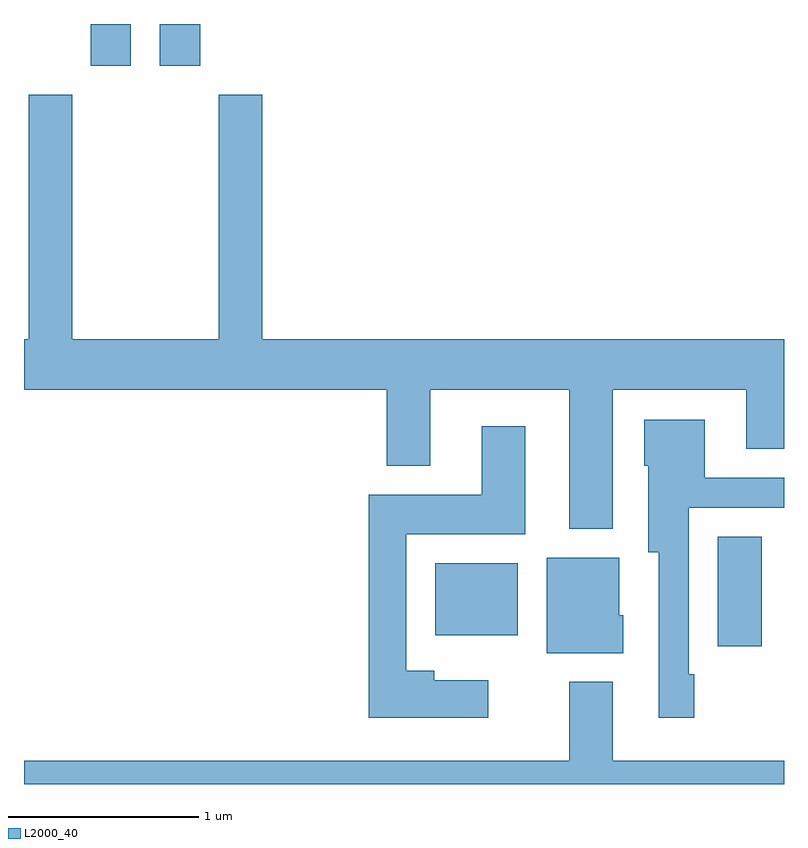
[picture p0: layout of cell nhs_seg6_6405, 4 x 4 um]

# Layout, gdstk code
import gdstk
lib = gdstk.Library(unit=1e-6, precision=1e-09)
def R(c, l, rs):  # rectangles x0, y0, x1, y1
    for r in rs: c.add(gdstk.rectangle(r[:2], r[2:], *l))
def P(c, l, *ps):  # polygons
    for p in ps: c.add(gdstk.Polygon(p, *l))
L2000_40 = (2000, 40)

nhs_seg6_6405 = lib.new_cell('nhs_seg6_6405')
R(nhs_seg6_6405, L2000_40, [(383.261,1570.886,383.494,1571.464), (381.776,1570.946,382.209,1571.324), (379.961,1573.941,380.174,1574.162), (380.326,1573.941,380.539,1574.162)])
P(nhs_seg6_6405, L2000_40, [(382.709,1572.236),(383.411,1572.236),(383.411,1571.926),(383.611,1571.926),(383.611,1572.504),(380.864,1572.504),(380.864,1573.789),(380.636,1573.789),(380.636,1572.504),(379.864,1572.504),(379.864,1573.789),(379.636,1573.789),(379.636,1572.504),(379.611,1572.504),(379.611,1572.236),(381.521,1572.236),(381.521,1571.836),(381.749,1571.836),(381.749,1572.236),(382.481,1572.236),(382.481,1571.506),(382.709,1571.506)],
  [(383.139,1570.739),(383.109,1570.739),(383.109,1571.616),(383.611,1571.616),(383.611,1571.774),(383.194,1571.774),(383.194,1572.079),(382.876,1572.079),(382.876,1571.836),(382.896,1571.836),(382.896,1571.381),(382.951,1571.381),(382.951,1570.511),(383.139,1570.511)],
  [(382.054,1570.709),(381.769,1570.709),(381.769,1570.759),(381.624,1570.759),(381.624,1571.476),(382.249,1571.476),(382.249,1572.044),(382.021,1572.044),(382.021,1571.684),(381.426,1571.684),(381.426,1570.511),(382.054,1570.511)],
  [(382.764,1571.049),(382.744,1571.049),(382.744,1571.354),(382.361,1571.354),(382.361,1570.851),(382.764,1570.851)],
  [(383.611,1570.284),(382.709,1570.284),(382.709,1570.699),(382.481,1570.699),(382.481,1570.284),(379.611,1570.284),(379.611,1570.162),(383.611,1570.162)])

lib.write_gds('nhs_seg6_6405.gds')
